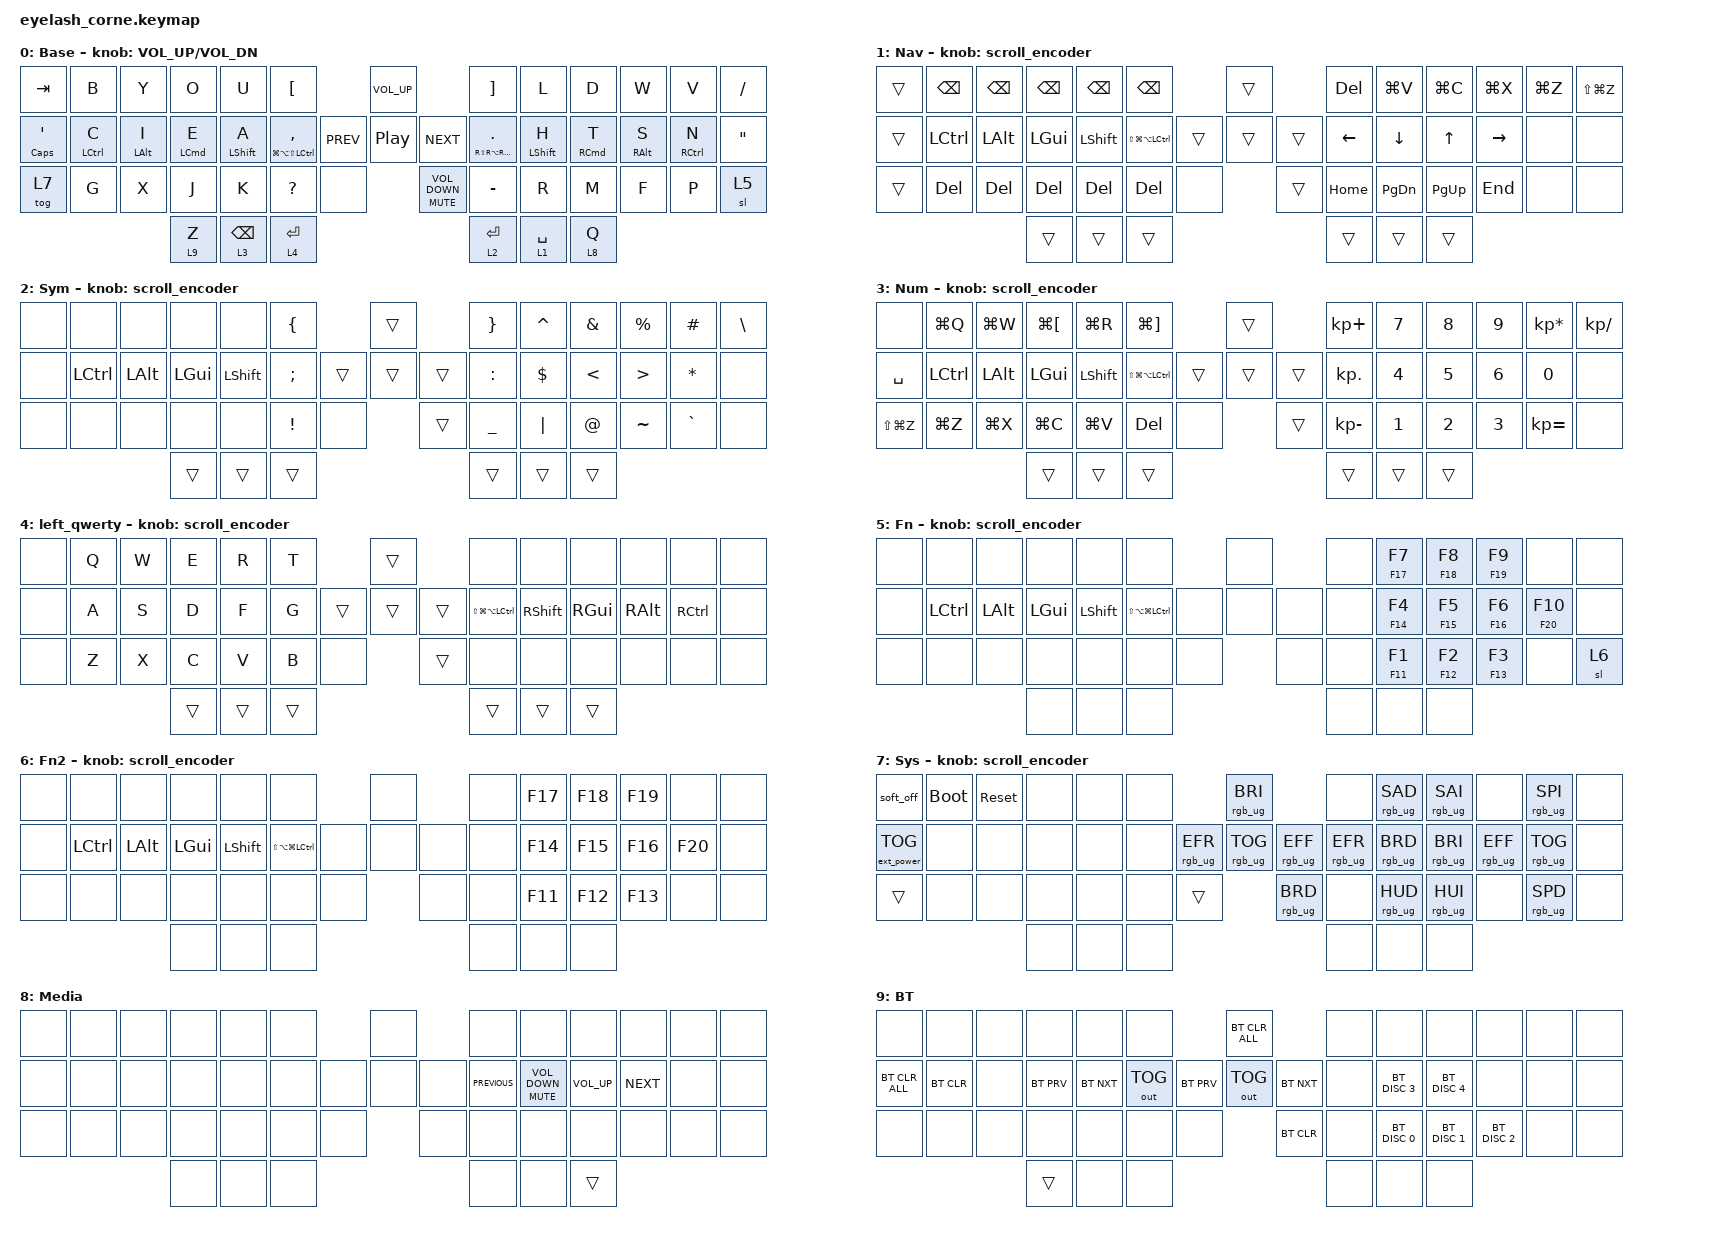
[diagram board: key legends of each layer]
#define ZMK_POINTING_DEFAULT_MOVE_VAL 1200  // 600
#define ZMK_POINTING_DEFAULT_SCRL_VAL 25   // 10

#include <input/processors.dtsi>
#include <zephyr/dt-bindings/input/input-event-codes.h>
#include <behaviors.dtsi>
#include <dt-bindings/zmk/bt.h>
#include <dt-bindings/zmk/ext_power.h>
#include <dt-bindings/zmk/keys.h>
#include <dt-bindings/zmk/outputs.h>
#include <dt-bindings/zmk/pointing.h>
#include <dt-bindings/zmk/rgb.h>

&mmv_input_listener { input-processors = <&zip_xy_scaler 2 1>; };

&msc_input_listener { input-processors = <&zip_scroll_scaler 2 1>; };

&msc {
    acceleration-exponent = <1>;      // 0
    time-to-max-speed-ms = <100>;       // 300
    delay-ms = <0>;                   // 0
};

&mmv {
    time-to-max-speed-ms = <500>;
    acceleration-exponent = <1>;
    trigger-period-ms = <16>;
};

/ {
    behaviors {
        td0: td0 {
            compatible = "zmk,behavior-tap-dance";
            display-name = "Shift/Caps Lock Tap Dance";
            #binding-cells = <0>;
            bindings = <&kp LEFT_SHIFT>, <&kp CAPS>;
        };

        hml: home_row_mod_left {
            compatible = "zmk,behavior-hold-tap";
            #binding-cells = <2>;
            flavor = "balanced";
            require-prior-idle-ms = <150>;
            tapping-term-ms = <200>;
            quick-tap-ms = <175>;
            bindings = <&kp>, <&kp>;

            hold-trigger-key-positions = <22 23 24 25 26>; // List of keys on the right side of the keyboard
            hold-trigger-on-release;
        };

        hmr: home_row_mod_right {
            compatible = "zmk,behavior-hold-tap";
            #binding-cells = <2>;
            flavor = "balanced";
            require-prior-idle-ms = <150>;
            tapping-term-ms = <200>;
            quick-tap-ms = <175>;
            bindings = <&kp>, <&kp>;

            hold-trigger-key-positions = <14 15 16 17 18>; // List of keys on the left side of the keyboard
            hold-trigger-on-release;
        };
    };

    rgb_encoder: rgb_encoder {
        compatible = "zmk,behavior-sensor-rotate";
        #sensor-binding-cells = <0>;
        bindings = <&rgb_ug RGB_BRI>, <&rgb_ug RGB_BRD>;
    };

    scroll_encoder: scroll_encoder {
        compatible = "zmk,behavior-sensor-rotate";
        #sensor-binding-cells = <0>;
        bindings = <&msc SCRL_DOWN>, <&msc SCRL_UP>;

        tap-ms = <100>;
    };

    combos {
        compatible = "zmk,combos";

        esc {
            bindings = <&kp ESC>;
            key-positions = <3 2>;
            layers = <0>;
            require-prior-idle-ms = <250>;
        };

        left-parenthesis {
            bindings = <&kp LEFT_PARENTHESIS>;
            key-positions = <3 4>;
            layers = <0 2>;
            require-prior-idle-ms = <170>;
        };

        right-parenthesis {
            bindings = <&kp RIGHT_PARENTHESIS>;
            key-positions = <8 9>;
            layers = <0 2>;
            require-prior-idle-ms = <170>;
        };

        Capsword {
            bindings = <&caps_word>;
            key-positions = <43 46>;
            layers = <0>;
        };
    };

    keymap {
        compatible = "zmk,keymap";

        default_layer {
            display-name = "Base";
            bindings = <
&kp TAB           &kp B         &kp Y            &kp O                &kp U              &kp LEFT_BRACKET                                          &kp C_VOLUME_UP                       &kp RIGHT_BRACKET                      &kp L              &kp D                 &kp W             &kp V                 &kp SLASH
&mt CAPSLOCK SQT  &hml LCTRL C  &hml LEFT_ALT I  &hml LEFT_COMMAND E  &hml LEFT_SHIFT A  &hml LG(LA(LS(LEFT_CONTROL))) COMMA           &kp C_PREV  &kp C_PLAY_PAUSE          &kp C_NEXT  &hmr RS(RA(RG(RIGHT_CONTROL))) PERIOD  &hmr LEFT_SHIFT H  &hmr RIGHT_COMMAND T  &hmr RIGHT_ALT S  &hmr RIGHT_CONTROL N  &kp DOUBLE_QUOTES
&tog 7            &kp G         &kp X            &kp J                &kp K              &kp QUESTION                         &none                &mt C_MUTE C_VOLUME_DOWN              &kp MINUS                              &kp R              &kp M                 &kp F             &kp P                 &sl 5
                                                 &lt 9 Z              &lt 3 BACKSPACE    &lt 4 ENTER                                                                                     &lt 2 ENTER                            &lt 1 SPACE        &lt 8 Q
            >;

            sensor-bindings = <&inc_dec_kp C_VOLUME_UP C_VOL_DN>;
        };

        layer_1 {
            display-name = "Nav";
            bindings = <
&trans  &kp BSPC   &kp BSPC  &kp BSPC  &kp BSPC   &kp BSPC                                &trans          &kp DEL   &kp LG(V)  &kp LG(C)  &kp LG(X)  &kp LG(Z)  &kp LS(LG(Z))
&trans  &kp LCTRL  &kp LALT  &kp LGUI  &kp LSHFT  &kp LS(LG(LA(LCTRL)))           &trans  &trans  &trans  &kp LEFT  &kp DOWN   &kp UP     &kp RIGHT  &none      &none
&trans  &kp DEL    &kp DEL   &kp DEL   &kp DEL    &kp DEL                &none            &trans          &kp HOME  &kp PG_DN  &kp PG_UP  &kp END    &none      &none
                             &trans    &trans     &trans                                                  &trans    &trans     &trans
            >;

            sensor-bindings = <&scroll_encoder>;
        };

        layer_2 {
            display-name = "Sym";
            bindings = <
&none  &none      &none     &none     &none      &kp LEFT_BRACE                    &trans          &kp RIGHT_BRACE  &kp CARET   &kp AMPERSAND  &kp PERCENT       &kp HASH      &kp BACKSLASH
&none  &kp LCTRL  &kp LALT  &kp LGUI  &kp LSHFT  &kp SEMI                  &trans  &trans  &trans  &kp COLON        &kp DOLLAR  &kp LESS_THAN  &kp GREATER_THAN  &kp ASTERISK  &none
&none  &none      &none     &none     &none      &kp EXCLAMATION  &none            &trans          &kp UNDERSCORE   &kp PIPE    &kp AT_SIGN    &kp TILDE         &kp GRAVE     &none
                            &trans    &trans     &trans                                            &trans           &trans      &trans
            >;

            sensor-bindings = <&scroll_encoder>;
        };

        layer_3 {
            display-name = "Num";
            bindings = <
&none          &kp LG(Q)  &kp LG(W)  &kp LG(LEFT_BRACKET)  &kp LG(R)  &kp LG(RIGHT_BRACKET)                   &trans          &kp KP_PLUS   &kp NUMBER_7  &kp NUMBER_8  &kp NUMBER_9  &kp KP_ASTERISK  &kp KP_DIVIDE
&kp SPACE      &kp LCTRL  &kp LALT   &kp LGUI              &kp LSHFT  &kp LS(LG(LA(LCTRL)))           &trans  &trans  &trans  &kp KP_DOT    &kp NUMBER_4  &kp NUMBER_5  &kp NUMBER_6  &kp NUMBER_0     &none
&kp LS(LG(Z))  &kp LG(Z)  &kp LG(X)  &kp LG(C)             &kp LG(V)  &kp DELETE             &none            &trans          &kp KP_MINUS  &kp NUMBER_1  &kp NUMBER_2  &kp NUMBER_3  &kp KP_EQUAL     &none
                                     &trans                &trans     &trans                                                  &trans        &trans        &trans
            >;

            sensor-bindings = <&scroll_encoder>;
        };

        layer_4 {
            display-name = "left_qwerty";
            bindings = <
&none  &kp Q  &kp W  &kp E   &kp R   &kp T                    &trans          &none                  &none      &none     &none     &none      &none
&none  &kp A  &kp S  &kp D   &kp F   &kp G            &trans  &trans  &trans  &kp LS(LG(LA(LCTRL)))  &kp RSHFT  &kp RGUI  &kp RALT  &kp RCTRL  &none
&none  &kp Z  &kp X  &kp C   &kp V   &kp B   &none            &trans          &none                  &none      &none     &none     &none      &none
                     &trans  &trans  &trans                                   &trans                 &trans     &trans
            >;

            sensor-bindings = <&scroll_encoder>;
        };

        layer_5 {
            bindings = <
&none  &none      &none     &none     &none      &none                                         &none         &none  &mt F17 F7  &mt F18 F8  &mt F19 F9  &none        &none
&none  &kp LCTRL  &kp LALT  &kp LGUI  &kp LSHFT  &kp LS(LA(LG(LEFT_CONTROL)))           &none  &none  &none  &none  &mt F14 F4  &mt F15 F5  &mt F16 F6  &mt F20 F10  &none
&none  &none      &none     &none     &none      &none                         &none           &none         &none  &mt F11 F1  &mt F12 F2  &mt F13 F3  &none        &sl 6
                            &none     &none      &none                                                       &none  &none       &none
            >;

            label = "Fn";
            sensor-bindings = <&scroll_encoder>;
        };

        layer_6 {
            bindings = <
&none  &none      &none     &none     &none      &none                                         &none         &none  &kp F17  &kp F18  &kp F19  &none    &none
&none  &kp LCTRL  &kp LALT  &kp LGUI  &kp LSHFT  &kp LS(LA(LG(LEFT_CONTROL)))           &none  &none  &none  &none  &kp F14  &kp F15  &kp F16  &kp F20  &none
&none  &none      &none     &none     &none      &none                         &none           &none         &none  &kp F11  &kp F12  &kp F13  &none    &none
                            &none     &none      &none                                                       &none  &none    &none
            >;

            label = "Fn2";
            sensor-bindings = <&scroll_encoder>;
        };

        layer_7 {
            bindings = <
&soft_off          &bootloader  &sys_reset  &none  &none  &none                             &rgb_ug RGB_BRI                   &none            &rgb_ug RGB_SAD  &rgb_ug RGB_SAI  &none            &rgb_ug RGB_SPI  &none
&ext_power EP_TOG  &none        &none       &none  &none  &none            &rgb_ug RGB_EFR  &rgb_ug RGB_TOG  &rgb_ug RGB_EFF  &rgb_ug RGB_EFR  &rgb_ug RGB_BRD  &rgb_ug RGB_BRI  &rgb_ug RGB_EFF  &rgb_ug RGB_TOG  &none
&trans             &none        &none       &none  &none  &none  &trans                     &rgb_ug RGB_BRD                   &none            &rgb_ug RGB_HUD  &rgb_ug RGB_HUI  &none            &rgb_ug RGB_SPD  &none
                                            &none  &none  &none                                                               &none            &none            &none
            >;

            label = "Sys";
            sensor-bindings = <&scroll_encoder>;
        };

        layer_8 {
            bindings = <
&none  &none  &none  &none  &none  &none                  &none         &none           &none                     &none            &none       &none  &none
&none  &none  &none  &none  &none  &none           &none  &none  &none  &kp C_PREVIOUS  &mt C_MUTE C_VOLUME_DOWN  &kp C_VOLUME_UP  &kp C_NEXT  &none  &none
&none  &none  &none  &none  &none  &none  &none           &none         &none           &none                     &none            &none       &none  &none
                     &none  &none  &none                                &none           &none                     &trans
            >;

            label = "Media";
        };

        layer_9 {
            bindings = <
&none           &none       &none  &none       &none       &none                              &bt BT_CLR_ALL              &none  &none          &none          &none          &none  &none
&bt BT_CLR_ALL  &bt BT_CLR  &none  &bt BT_PRV  &bt BT_NXT  &out OUT_TOG           &bt BT_PRV  &out OUT_TOG    &bt BT_NXT  &none  &bt BT_DISC 3  &bt BT_DISC 4  &none          &none  &none
&none           &none       &none  &none       &none       &none         &none                &bt BT_CLR                  &none  &bt BT_DISC 0  &bt BT_DISC 1  &bt BT_DISC 2  &none  &none
                                   &trans      &none       &none                                                          &none  &none          &none
            >;

            label = "BT";
        };
    };
};
